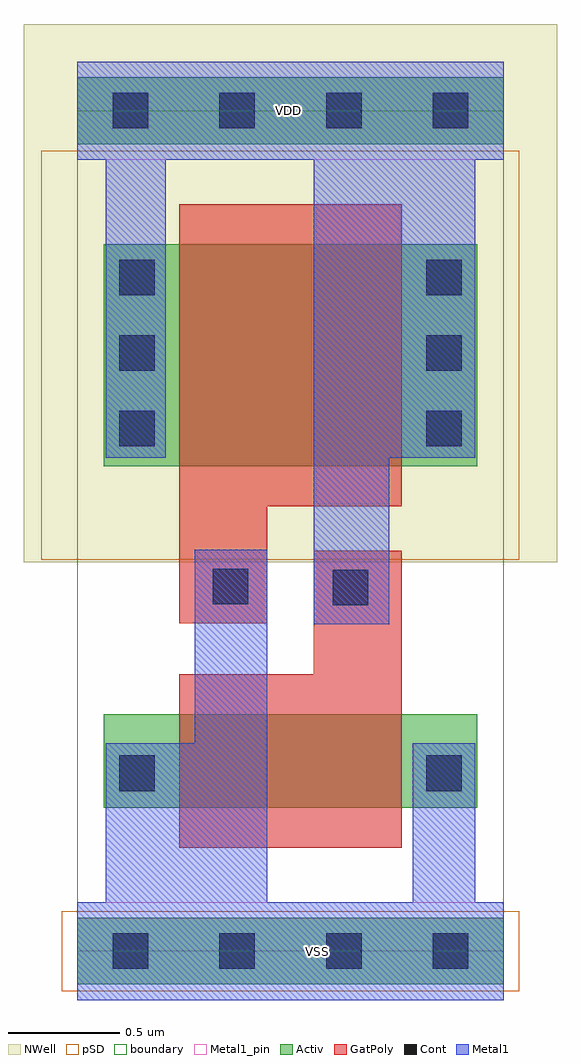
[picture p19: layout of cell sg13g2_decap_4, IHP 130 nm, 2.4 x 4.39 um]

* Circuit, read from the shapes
.subckt sg13g2_decap_4 VDD VSS
XM1 VSS VDD VSS VSS sg13_lv_nmos w=0.42u l=1u
XM2 VDD VSS VDD VDD sg13_lv_pmos w=1u l=1u
.ends

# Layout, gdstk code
import gdstk
lib = gdstk.Library(unit=1e-6, precision=1e-09)
def R(c, l, rs):  # rectangles x0, y0, x1, y1
    for r in rs: c.add(gdstk.rectangle(r[:2], r[2:], *l))
def P(c, l, *ps):  # polygons
    for p in ps: c.add(gdstk.Polygon(p, *l))
Activ = (1, 0)
GatPoly = (5, 0)
Cont = (6, 0)
Metal1 = (8, 0)
Metal1_pin = (8, 2)
pSD = (14, 0)
NWell = (31, 0)
boundary = (189, 4)

sg13g2_decap_4 = lib.new_cell('sg13g2_decap_4')
R(sg13g2_decap_4, Activ, [(0,-0.15,1.92,0.15), (0,-0.15,1.92,0.15), (0.12,0.645,1.8,1.065), (0.12,0.645,1.8,1.065), (0.12,2.18,1.8,3.18), (0.12,2.18,1.8,3.18), (0,3.63,1.92,3.93), (0,3.63,1.92,3.93)])
P(sg13g2_decap_4, GatPoly, [(0.46,1.475),(0.46,3.36),(1.46,3.36),(1.46,2),(0.855,2),(0.855,1.475)],
  [(0.46,0.465),(0.46,1.245),(1.065,1.245),(1.065,1.8),(1.46,1.8),(1.46,0.465)],
  [(0.46,1.475),(0.46,3.36),(1.46,3.36),(1.46,2),(0.855,2),(0.855,1.475)],
  [(0.46,0.465),(0.46,1.245),(1.065,1.245),(1.065,1.8),(1.46,1.8),(1.46,0.465)])
R(sg13g2_decap_4, Cont, [(0.16,-0.08,0.32,0.08), (0.16,-0.08,0.32,0.08), (0.64,-0.08,0.8,0.08), (0.64,-0.08,0.8,0.08), (1.12,-0.08,1.28,0.08), (1.12,-0.08,1.28,0.08), (1.6,-0.08,1.76,0.08), (1.6,-0.08,1.76,0.08), (0.19,0.72,0.35,0.88), (0.19,0.72,0.35,0.88), (1.57,0.72,1.73,0.88), (1.57,0.72,1.73,0.88), (1.15,1.555,1.31,1.715), (1.15,1.555,1.31,1.715), (0.61,1.56,0.77,1.72), (0.61,1.56,0.77,1.72), (0.19,2.27,0.35,2.43), (0.19,2.27,0.35,2.43), (1.57,2.27,1.73,2.43), (1.57,2.27,1.73,2.43), (0.19,2.61,0.35,2.77), (0.19,2.61,0.35,2.77), (1.57,2.61,1.73,2.77), (1.57,2.61,1.73,2.77), (0.19,2.95,0.35,3.11), (0.19,2.95,0.35,3.11), (1.57,2.95,1.73,3.11), (1.57,2.95,1.73,3.11), (0.16,3.7,0.32,3.86), (0.16,3.7,0.32,3.86), (0.64,3.7,0.8,3.86), (0.64,3.7,0.8,3.86), (1.12,3.7,1.28,3.86), (1.12,3.7,1.28,3.86), (1.6,3.7,1.76,3.86), (1.6,3.7,1.76,3.86)])
P(sg13g2_decap_4, Metal1, [(0,-0.22),(0,0.22),(0.13,0.22),(0.13,0.935),(0.53,0.935),(0.53,1.805),(0.855,1.805),(0.855,0.22),(1.51,0.22),(1.51,0.935),(1.79,0.935),(1.79,0.22),(1.92,0.22),(1.92,-0.22)],
  [(1.065,1.47),(1.065,3.56),(0.4,3.56),(0.4,2.22),(0.13,2.22),(0.13,3.56),(0,3.56),(0,4),(1.92,4),(1.92,3.56),(1.79,3.56),(1.79,2.22),(1.405,2.22),(1.405,1.47)],
  [(0,-0.22),(0,0.22),(0.13,0.22),(0.13,0.935),(0.53,0.935),(0.53,1.805),(0.855,1.805),(0.855,0.22),(1.51,0.22),(1.51,0.935),(1.79,0.935),(1.79,0.22),(1.92,0.22),(1.92,-0.22)],
  [(1.065,1.47),(1.065,3.56),(0.4,3.56),(0.4,2.22),(0.13,2.22),(0.13,3.56),(0,3.56),(0,4),(1.92,4),(1.92,3.56),(1.79,3.56),(1.79,2.22),(1.405,2.22),(1.405,1.47)])
R(sg13g2_decap_4, Metal1_pin, [(0,-0.22,1.92,0.22), (0,-0.22,1.92,0.22), (0,3.56,1.92,4), (0,3.56,1.92,4)])
R(sg13g2_decap_4, pSD, [(-0.07,-0.18,1.99,0.18), (-0.07,-0.18,1.99,0.18), (-0.16,1.76,1.99,3.6), (-0.16,1.76,1.99,3.6)])
R(sg13g2_decap_4, NWell, [(-0.24,1.75,2.16,4.17), (-0.24,1.75,2.16,4.17)])
R(sg13g2_decap_4, boundary, [(0,0,1.92,3.78), (0,0,1.92,3.78)])
sg13g2_decap_4.add(gdstk.Label('VDD', (0.95,3.78), layer=8, texttype=25))
sg13g2_decap_4.add(gdstk.Label('VSS', (1.08,0), layer=8, texttype=25))
sg13g2_decap_4.add(gdstk.Label('VDD', (0.95,3.78), layer=8, texttype=25))
sg13g2_decap_4.add(gdstk.Label('VSS', (1.08,0), layer=8, texttype=25))

lib.write_gds('sg13g2_decap_4.gds')
